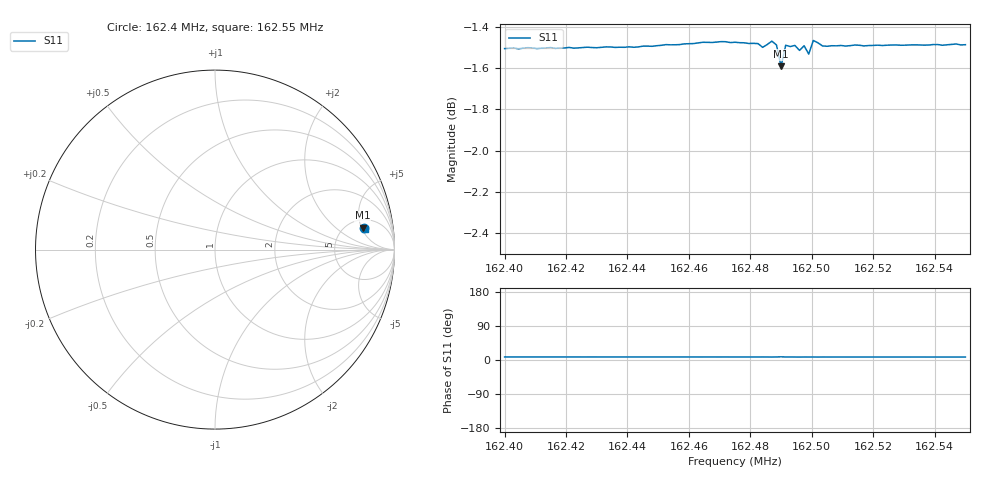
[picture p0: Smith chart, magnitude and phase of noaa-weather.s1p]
! Calibrated averaged scanner-service zoom
# Hz S RI R 50
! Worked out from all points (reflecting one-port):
!   101 points, 162.4 MHz to 162.55 MHz, reference 50 ohm
!   lowest |S11| = -1.6 dB at 162.49 MHz (marker M1), VSWR 10.95, Z = 333 + j266 ohm
!   phase of S11 starts at 8 deg and turns -0 deg over the sweep
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1.624e8  0.8327 0.1176
1.62403e8  0.833 0.118
1.624045e8  0.8326 0.1177
1.624195e8  0.8331 0.1175
1.624345e8  0.8335 0.1174
1.624375e8  0.8335 0.1169
1.62457e8  0.8347 0.117
1.624645e8  0.8358 0.1171
1.62472e8  0.836 0.1173
1.62475e8  0.8359 0.1167
1.624825e8  0.8352 0.1166
1.62484e8  0.8334 0.1169
1.624855e8  0.8348 0.1165
1.62487e8  0.8366 0.1152
1.624885e8  0.8345 0.1176
1.6249e8  0.8236 0.1224
1.624915e8  0.8345 0.1162
1.62493e8  0.8339 0.1165
1.624945e8  0.8345 0.116
1.62496e8  0.8325 0.113
1.624975e8  0.8343 0.1161
1.62499e8  0.8305 0.1149
1.625005e8  0.8368 0.1164
1.62502e8  0.8359 0.1144
1.625035e8  0.8342 0.1159
1.625125e8  0.8344 0.1155
1.62532e8  0.8348 0.1152
1.6255e8  0.835 0.1147
